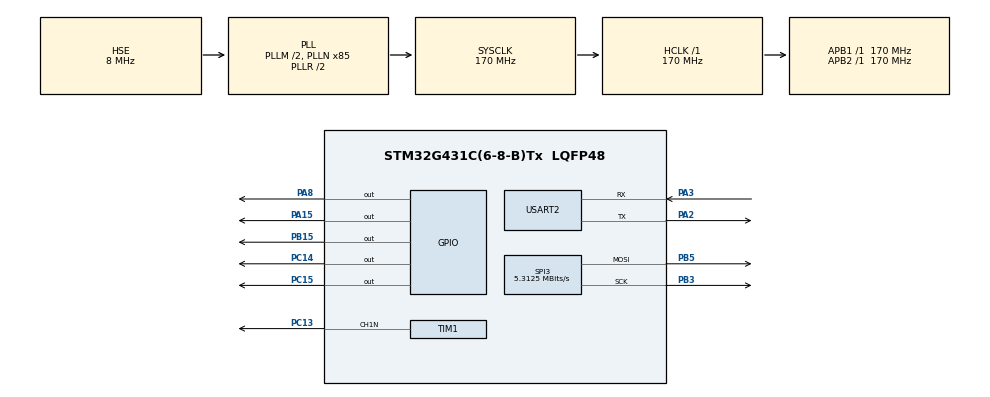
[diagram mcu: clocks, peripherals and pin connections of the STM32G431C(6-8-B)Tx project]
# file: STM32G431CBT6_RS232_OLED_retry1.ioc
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Mcu.Family=STM32G4
Mcu.Name=STM32G431C(6-8-B)Tx
Mcu.Package=LQFP48
NVIC.PriorityGroup=NVIC_PRIORITYGROUP_4
NVIC.USART2_IRQn=true\:0\:0\:false\:false\:true\:true\:true\:true
PA13.Mode=Serial_Wire
PA13.Signal=SYS_JTMS-SWDIO
PA14.Mode=Serial_Wire
PA14.Signal=SYS_JTCK-SWCLK
PA15.GPIO_Speed=GPIO_SPEED_FREQ_VERY_HIGH
PA15.Signal=GPIO_Output
PA2.Mode=Asynchronous
PA2.Signal=USART2_TX
PA3.Mode=Asynchronous
PA3.Signal=USART2_RX
PA8.GPIO_Speed=GPIO_SPEED_FREQ_VERY_HIGH
PA8.Signal=GPIO_Output
PB15.GPIO_Speed=GPIO_SPEED_FREQ_VERY_HIGH
PB15.Signal=GPIO_Output
PB3.Mode=TX_Only_Simplex_Unidirect_Master
PB3.Signal=SPI3_SCK
PB5.Mode=TX_Only_Simplex_Unidirect_Master
PB5.Signal=SPI3_MOSI
PC13.Mode=PWM Generation1 CH1N
PC13.Signal=TIM1_CH1N
PC14-OSC32_IN.Signal=GPIO_Output
PC15-OSC32_OUT.Signal=GPIO_Output
PF0-OSC_IN.Mode=HSE-External-Oscillator
PF0-OSC_IN.Signal=RCC_OSC_IN
PF1-OSC_OUT.Mode=HSE-External-Oscillator
PF1-OSC_OUT.Signal=RCC_OSC_OUT
ProjectManager.HeapSize=0x200
ProjectManager.StackSize=0x400
ProjectManager.TargetToolchain=STM32CubeIDE
RCC.ADC12Freq_Value=170000000
RCC.AHBFreq_Value=170000000
RCC.APB1Freq_Value=170000000
RCC.APB1TimFreq_Value=170000000
RCC.APB2Freq_Value=170000000
RCC.APB2TimFreq_Value=170000000
RCC.CortexFreq_Value=170000000
RCC.EXTERNAL_CLOCK_VALUE=12288000
RCC.HCLKFreq_Value=170000000
RCC.HSE_VALUE=8000000
RCC.HSI48_VALUE=48000000
RCC.HSI_VALUE=16000000
RCC.LSE_VALUE=32768
RCC.PLLM=RCC_PLLM_DIV2
RCC.PLLN=85
RCC.PLLSourceVirtual=RCC_PLLSOURCE_HSE
RCC.SYSCLKFreq_VALUE=170000000
RCC.SYSCLKSource=RCC_SYSCLKSOURCE_PLLCLK
RCC.USBFreq_Value=170000000
RCC.VCOOutputFreq_Value=340000000
SPI3.BaudRatePrescaler=SPI_BAUDRATEPRESCALER_32
SPI3.CalculateBaudRate=5.3125 MBits/s
SPI3.DataSize=SPI_DATASIZE_8BIT
SPI3.Direction=SPI_DIRECTION_2LINES
SPI3.Mode=SPI_MODE_MASTER
SPI3.VirtualType=VM_MASTER
TIM1.AutoReloadPreload=TIM_AUTORELOAD_PRELOAD_ENABLE
TIM1.AutomaticOutput=TIM_AUTOMATICOUTPUT_ENABLE
TIM1.Channel-PWM\ Generation1\ CH1N=TIM_CHANNEL_1
TIM1.PeriodNoDither=499
TIM1.Prescaler=169
TIM1.PulseNoDither_1=250
USART2.VirtualMode-Asynchronous=VM_ASYNC
VP_SYS_VS_DBSignals.Mode=DisableDeadBatterySignals
VP_TIM1_VS_ClockSourceINT.Mode=Internal
board=custom

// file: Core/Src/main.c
/* USER CODE BEGIN Header */
/**
  ******************************************************************************
  * @file           : main.c
  * @brief          : Main program body
  ******************************************************************************
  * @attention
  *
  * Copyright (c) 2026 STMicroelectronics.
  * All rights reserved.
  *
  * This software is licensed under terms that can be found in the LICENSE file
  * in the root directory of this software component.
  * If no LICENSE file comes with this software, it is provided AS-IS.
  *
  ******************************************************************************
  */
/* USER CODE END Header */
#include "main.h"
#include "spi.h"
#include "tim.h"
#include "usart.h"
#include "gpio.h"

/* USER CODE BEGIN Includes */
#include <string.h>
#include <stdio.h>
#include "font.h"
#include "ssd1322.h"
#include "uart_driver.h"
#include "led.h"
#include "buzzer.h"
#include "cli.h"
/* USER CODE END Includes */

void SystemClock_Config(void);

int main(void)
{

  /* MCU Configuration--------------------------------------------------------*/

  /* Reset of all peripherals, Initializes the Flash interface and the Systick. */
  HAL_Init();

  /* Configure the system clock */
  SystemClock_Config();

  /* Initialize all configured peripherals */
  MX_GPIO_Init();
  MX_SPI3_Init();
  MX_USART2_UART_Init();
  MX_TIM1_Init();

  /* USER CODE BEGIN 2 */
    // OLED 초기화
    SSD1322_Init();
    UART_Driver_Init();
    LED_All_Off();
    CLI_Init();

    SSD1322_Clear(); // 버퍼를 검은색(0)으로 초기화
    SSD1322_PutString(0, 0, "SYSTEM READY", 15);
    SSD1322_Update();

  /* USER CODE END 2 */

  /* Infinite loop */
  /* USER CODE BEGIN WHILE */
    while (1)
      {
        // [A] 실시간 피드백: 글자를 칠 때마다 OLED에 즉시 표시
        if (char_received_flag) {
            SSD1322_Clear();
            SSD1322_PutString(0, 0, "Typing...", 8);

            // 현재 버퍼에 담긴 내용을 실시간으로 출력
            SSD1322_PutString(0, 20, uart_rx_buffer, 15);

            SSD1322_Update();
            char_received_flag = 0;
        }
        CLI_Process();

    /* USER CODE END WHILE */

      }
}

void SystemClock_Config(void)
{
  RCC_OscInitTypeDef RCC_OscInitStruct = {0};
  RCC_ClkInitTypeDef RCC_ClkInitStruct = {0};

  /** Configure the main internal regulator output voltage
  */
  HAL_PWREx_ControlVoltageScaling(PWR_REGULATOR_VOLTAGE_SCALE1_BOOST);

  /** Initializes the RCC Oscillators according to the specified parameters
  * in the RCC_OscInitTypeDef structure.
  */
  RCC_OscInitStruct.OscillatorType = RCC_OSCILLATORTYPE_HSE;
  RCC_OscInitStruct.HSEState = RCC_HSE_ON;
  RCC_OscInitStruct.PLL.PLLState = RCC_PLL_ON;
  RCC_OscInitStruct.PLL.PLLSource = RCC_PLLSOURCE_HSE;
  RCC_OscInitStruct.PLL.PLLM = RCC_PLLM_DIV2;
  RCC_OscInitStruct.PLL.PLLN = 85;
  RCC_OscInitStruct.PLL.PLLP = RCC_PLLP_DIV2;
  RCC_OscInitStruct.PLL.PLLQ = RCC_PLLQ_DIV2;
  RCC_OscInitStruct.PLL.PLLR = RCC_PLLR_DIV2;
  if (HAL_RCC_OscConfig(&RCC_OscInitStruct) != HAL_OK)
  {
    Error_Handler();
  }

  /** Initializes the CPU, AHB and APB buses clocks
  */
  RCC_ClkInitStruct.ClockType = RCC_CLOCKTYPE_HCLK|RCC_CLOCKTYPE_SYSCLK
                              |RCC_CLOCKTYPE_PCLK1|RCC_CLOCKTYPE_PCLK2;
  RCC_ClkInitStruct.SYSCLKSource = RCC_SYSCLKSOURCE_PLLCLK;
  RCC_ClkInitStruct.AHBCLKDivider = RCC_SYSCLK_DIV1;
  RCC_ClkInitStruct.APB1CLKDivider = RCC_HCLK_DIV1;
  RCC_ClkInitStruct.APB2CLKDivider = RCC_HCLK_DIV1;

  if (HAL_RCC_ClockConfig(&RCC_ClkInitStruct, FLASH_LATENCY_4) != HAL_OK)
  {
    Error_Handler();
  }
}

void Error_Handler(void)
{
  __disable_irq();
  while (1)
  {
  }
}
